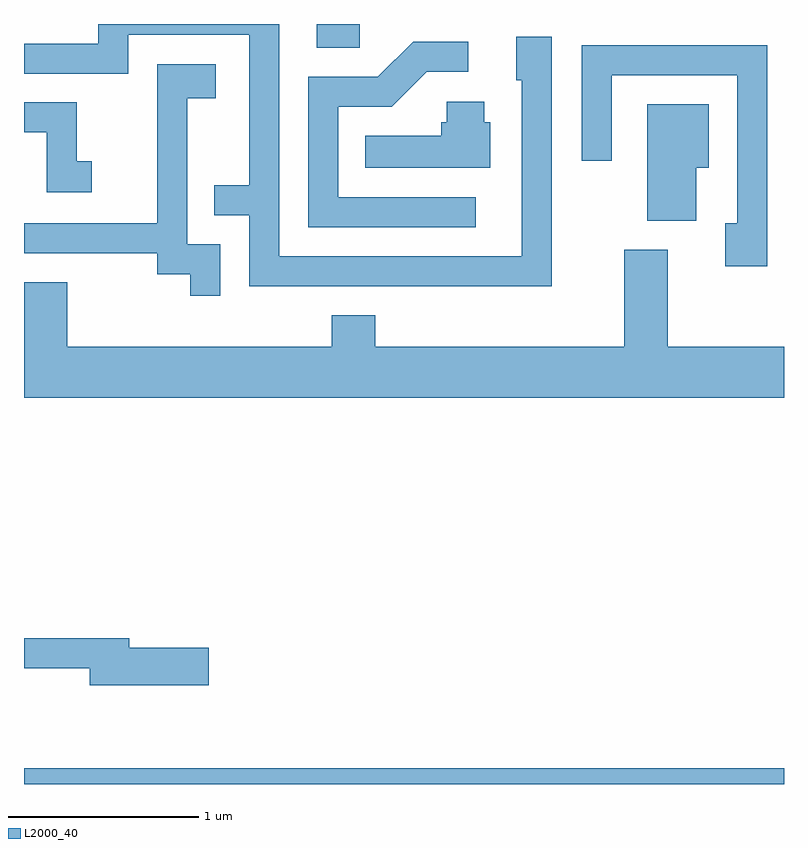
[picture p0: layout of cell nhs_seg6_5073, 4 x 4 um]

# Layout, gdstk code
import gdstk
lib = gdstk.Library(unit=1e-6, precision=1e-09)
def R(c, l, rs):  # rectangles x0, y0, x1, y1
    for r in rs: c.add(gdstk.rectangle(r[:2], r[2:], *l))
def P(c, l, *ps):  # polygons
    for p in ps: c.add(gdstk.Polygon(p, *l))
L2000_40 = (2000, 40)

nhs_seg6_5073 = lib.new_cell('nhs_seg6_5073')
R(nhs_seg6_5073, L2000_40, [(339.611,1610.162,343.611,1610.244), (341.151,1614.036,341.379,1614.162)])
P(nhs_seg6_5073, L2000_40, [(342.389,1614.094),(342.201,1614.094),(342.201,1613.866),(342.231,1613.866),(342.231,1612.939),(340.954,1612.939),(340.954,1614.162),(340.001,1614.162),(340.001,1614.059),(339.611,1614.059),(339.611,1613.901),(340.159,1613.901),(340.159,1614.106),(340.796,1614.106),(340.796,1613.314),(340.613,1613.314),(340.613,1613.156),(340.796,1613.156),(340.796,1612.781),(342.389,1612.781)],
  [(341.988,1613.249),(341.264,1613.249),(341.264,1613.726),(341.547,1613.726),(341.732,1613.911),(341.948,1613.911),(341.948,1614.069),(341.659,1614.069),(341.474,1613.884),(341.106,1613.884),(341.106,1613.091),(341.988,1613.091)],
  [(343.524,1614.049),(342.546,1614.049),(342.546,1613.443),(342.704,1613.443),(342.704,1613.891),(343.366,1613.891),(343.366,1613.114),(343.301,1613.114),(343.301,1612.886),(343.524,1612.886)],
  [(340.644,1613.004),(340.469,1613.004),(340.469,1613.771),(340.619,1613.771),(340.619,1613.949),(340.311,1613.949),(340.311,1613.114),(339.611,1613.114),(339.611,1612.956),(340.311,1612.956),(340.311,1612.846),(340.486,1612.846),(340.486,1612.733),(340.644,1612.733)],
  [(342.064,1613.644),(342.034,1613.644),(342.034,1613.754),(341.836,1613.754),(341.836,1613.644),(341.806,1613.644),(341.806,1613.574),(341.408,1613.574),(341.408,1613.406),(342.064,1613.406)],
  [(339.968,1613.439),(339.889,1613.439),(339.889,1613.749),(339.611,1613.749),(339.611,1613.591),(339.731,1613.591),(339.731,1613.276),(339.968,1613.276)],
  [(343.149,1613.406),(343.214,1613.406),(343.214,1613.739),(342.891,1613.739),(342.891,1613.126),(343.149,1613.126)],
  [(343.611,1612.464),(342.999,1612.464),(342.999,1612.974),(342.771,1612.974),(342.771,1612.464),(341.459,1612.464),(341.459,1612.629),(341.231,1612.629),(341.231,1612.464),(339.839,1612.464),(339.839,1612.804),(339.611,1612.804),(339.611,1612.196),(343.611,1612.196)],
  [(340.584,1610.879),(340.164,1610.879),(340.164,1610.929),(339.611,1610.929),(339.611,1610.771),(339.956,1610.771),(339.956,1610.681),(340.584,1610.681)])

lib.write_gds('nhs_seg6_5073.gds')
